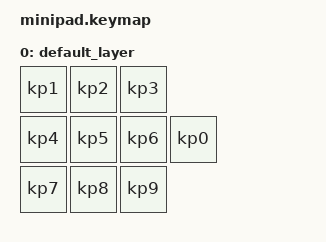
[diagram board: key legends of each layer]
#include <behaviors.dtsi>
#include <dt-bindings/zmk/keys.h>
#include <dt-bindings/zmk/bt.h>

/ {
  keymap {
    compatible = "zmk,keymap";

    default_layer {
      // -------------------------------------
      // |     1     |     2     |     3     |
      // |     4     |     5     |     6     |
      // |     7     |     8     |     9     |
      bindings = <
        &kp KP_N1   &kp KP_N2   &kp KP_N3   
        &kp KP_N4   &kp KP_N5   &kp KP_N6   &kp KP_N0
        &kp KP_N7   &kp KP_N8   &kp KP_N9
      >;
    };
  };
};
